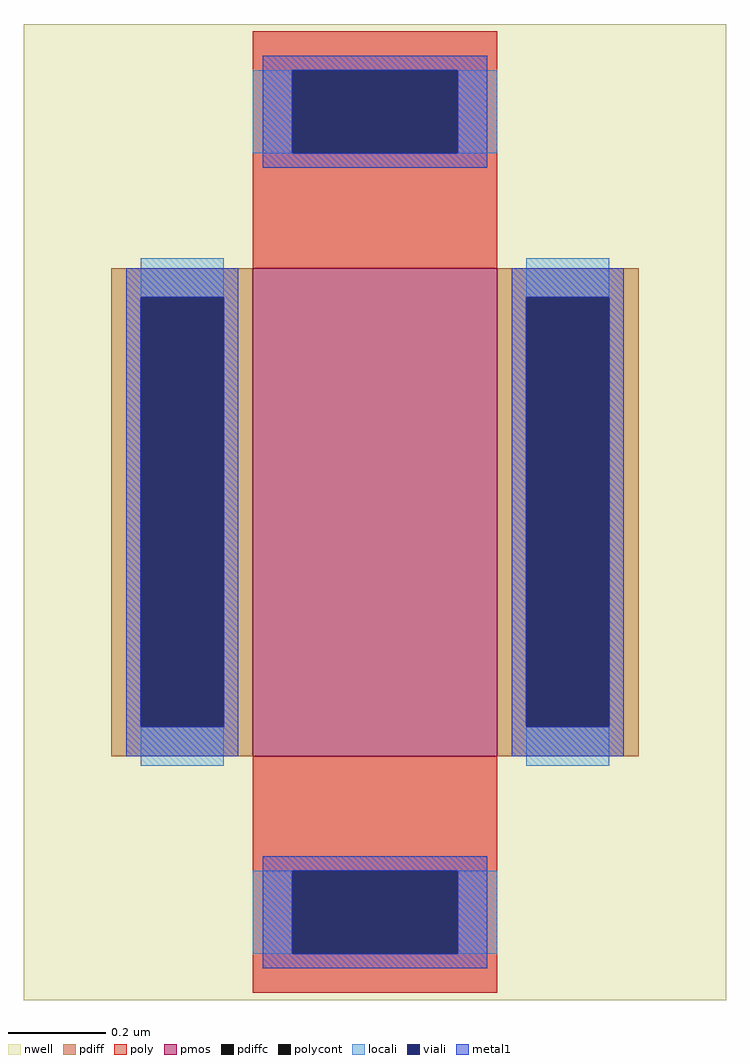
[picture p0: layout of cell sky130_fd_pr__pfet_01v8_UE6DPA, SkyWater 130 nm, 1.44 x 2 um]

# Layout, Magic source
magic
tech sky130B
magscale 1 2
<< nwell >>
rect -144 -200 144 200
<< pmos >>
rect -50 -100 50 100
<< pdiff >>
rect -108 88 -50 100
rect -108 -88 -96 88
rect -62 -88 -50 88
rect -108 -100 -50 -88
rect 50 88 108 100
rect 50 -88 62 88
rect 96 -88 108 88
rect 50 -100 108 -88
<< pdiffc >>
rect -96 -88 -62 88
rect 62 -88 96 88
<< poly >>
rect -50 181 50 197
rect -50 147 -34 181
rect 34 147 50 181
rect -50 100 50 147
rect -50 -147 50 -100
rect -50 -181 -34 -147
rect 34 -181 50 -147
rect -50 -197 50 -181
<< polycont >>
rect -34 147 34 181
rect -34 -181 34 -147
<< locali >>
rect -50 147 -34 181
rect 34 147 50 181
rect -96 88 -62 104
rect -96 -104 -62 -88
rect 62 88 96 104
rect 62 -104 96 -88
rect -50 -181 -34 -147
rect 34 -181 50 -147
<< viali >>
rect -34 147 34 181
rect -96 -88 -62 88
rect 62 -88 96 88
rect -34 -181 34 -147
<< metal1 >>
rect -46 181 46 187
rect -46 147 -34 181
rect 34 147 46 181
rect -46 141 46 147
rect -102 88 -56 100
rect -102 -88 -96 88
rect -62 -88 -56 88
rect -102 -100 -56 -88
rect 56 88 102 100
rect 56 -88 62 88
rect 96 -88 102 88
rect 56 -100 102 -88
rect -46 -147 46 -141
rect -46 -181 -34 -147
rect 34 -181 46 -147
rect -46 -187 46 -181
<< properties >>
string gencell sky130_fd_pr__pfet_01v8
string library sky130
string parameters w 1 l 0.5 m 1 nf 1 diffcov 100 polycov 100 guard 0 glc 1 grc 1 gtc 1 gbc 1 tbcov 100 rlcov 100 topc 1 botc 1 poverlap 0 doverlap 1 lmin 0.15 wmin 0.42 class mosfet compatible {sky130_fd_pr__pfet_01v8  sky130_fd_pr__pfet_01v8_lvt sky130_fd_pr__pfet_01v8_hvt  sky130_fd_pr__pfet_g5v0d10v5} full_metal 0 viasrc 100 viadrn 100 viagate 100 viagb 0 viagr 0 viagl 0 viagt 0
<< end >>
